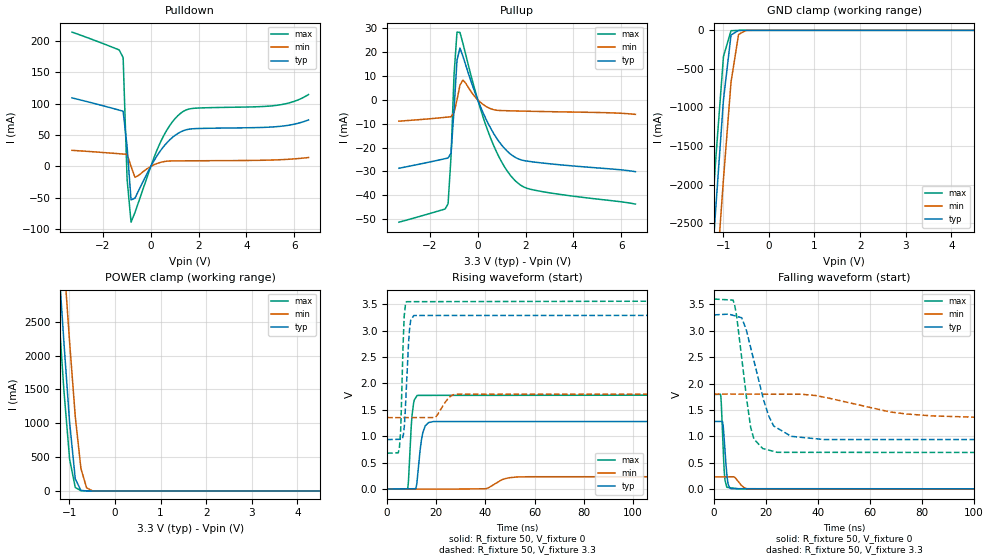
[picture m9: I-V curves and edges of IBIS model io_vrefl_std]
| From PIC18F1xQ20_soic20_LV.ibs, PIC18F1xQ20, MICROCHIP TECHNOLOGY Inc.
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[Model] io_vrefl_std
Model_type I/O
Vinl  =  0.8
Vinh  =  2
| Capacitance   typ   min   max
C_comp   6.136036966243662e-12   6.099198040904662e-12   6.534334017376944e-12
[Model Spec]
| Subparameter   typ   min   max
Vinl   1.5   0.81   1.65
Vinh   3.6   1.89   3.85
Vmeas   2.5   1.35   2.75
| Variables   typ   min   max
[GND Clamp Reference]   0   0   0
[POWER Clamp Reference]   3.3   1.8   3.6
[Pulldown Reference]   0   0   0
[Pullup Reference]   3.3   1.8   3.6
[Temperature Range]   25   125   -40
[Voltage Range]   3.3   1.8   3.6
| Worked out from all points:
|   slope of the pulldown table from 0 to 0.495 V, typ, clamps not added: 16.7 ohm
|   slope of the pullup table from 0 to 0.495 V, typ, clamps not added: 44.8 ohm
|   GND clamp passes 1 mA (typ) near -0.65 V on its own axis
|   POWER clamp passes 1 mA (typ) near -0.62 V on its own axis
|   falling waveform, R_fixture 50, V_fixture 0: 20-80 % time 1.18ns typ, 2.46ns min, 948ps max; typ from 1.28 V to 0 V
|   falling waveform, R_fixture 50, V_fixture 3.3: 20-80 % time 7.54ns typ, 25.6ns min, 4.48ns max; typ from 3.3 V to 0.936 V
|   rising waveform, R_fixture 50, V_fixture 0: 20-80 % time 1.94ns typ, 5.29ns min, 1.33ns max; typ from 0 V to 1.28 V
|   rising waveform, R_fixture 50, V_fixture 3.3: 20-80 % time 1.51ns typ, 3.79ns min, 1.11ns max; typ from 0.936 V to 3.3 V
[GND Clamp]
| Voltage   I(typ)   I(min)   I(max)
-3.3V     -20.71A    -20.94A    -20.62A
-1.324V   -3.7A      -4.646A    -3.106A
-1.159V   -2.282A    -3.287A    -1.646A
-993.1mV  -901.5mA   -1.932A    -339.4mA
-827.6mV  -60.7mA    -671.4mA   -4.911mA
-662.1mV  -1.049mA   -52.57mA   -611.6uA
-496.6mV  -24.56uA   -897.2uA   -6.715uA
6.6V      0A         0A         0A
[POWER Clamp]
| Voltage   I(typ)   I(min)   I(max)
-3.3V     24.42A     24.89A     24.19A
-1.366V   4.707A     5.832A     4.013A
-1.241V   3.448A     4.615A     2.725A
-1.117V   2.193A     3.4A       1.478A
-993.1mV  1.014A     2.2A       471.6mA
-869mV    177.7mA    1.1A       51.38mA
-744.8mV  7.757mA    330.9mA    3.34mA
-620.7mV  800.3uA    45.3mA     913.4uA
-496.6mV  59.12uA    2.734mA    100.9uA
6.6V      0A         0A         0A
[Pulldown]
| Voltage   I(typ)   I(min)   I(max)
-3.3V     109.4mA    25.68mA    214.5mA
-1.324V   89.88mA    20.27mA    185.9mA
-1.159V   88.12mA    19.77mA    173.8mA
-993.1mV  31.88mA    19.25mA    -20.25mA
-827.6mV  -53.52mA   -38.8uA    -89.02mA
-662.1mV  -50.57mA   -17.43mA   -73.42mA
341.4mV   21.7mA     5.717mA    33.47mA
796.6mV   42.57mA    8.672mA    65.49mA
1.252V    55.15mA    8.913mA    85mA
1.821V    60.27mA    9.023mA    92.84mA
5.286V    63.53mA    10.51mA    97.64mA
6.6V      74.28mA    14.23mA    114.7mA
[Pullup]
| Voltage   I(typ)   I(min)   I(max)
-3.3V     -28.7mA    -8.944mA   -51.33mA
-1.241V   -24.41mA   -7.2mA     -43.58mA
-1.117V   -22.37mA   -7.062mA   -23.61mA
-993.1mV  -4.232mA   -5.311mA   10.35mA
-869mV    16.64mA    -60.75uA   28.44mA
-744.8mV  21.75mA    6.171mA    28.29mA
-620.7mV  18.28mA    8.311mA    23.71mA
455.2mV   -10.29mA   -3.355mA   -13.89mA
1.024V    -19.27mA   -4.499mA   -26.48mA
1.593V    -24.26mA   -4.657mA   -34.17mA
2.503V    -26.27mA   -4.856mA   -38.14mA
6.6V      -30.13mA   -6.092mA   -43.74mA
[Ramp]
dV/dt_r   0.768807/1.9403n  0.139527/5.29135n  1.07649/1.33348n
dV/dt_f   1.41823/7.54215n  0.268061/25.5808n  1.75309/4.48253n
R_load = 50
[Falling Waveform]
R_fixture = 50
V_fixture = 0
V_fixture_min = 0
V_fixture_max = 0
| Time   V(typ)   V(min)   V(max)
0s        1.281V     232.5mV    1.794V
2.652ns   1.283V     233.2mV    1.743V
3.246ns   1.284V     233.3mV    1.102V
3.918ns   947.2mV    233.4mV    353.5mV
4.217ns   737.9mV    233.5mV    170.1mV
4.944ns   280.8mV    233.7mV    35.55mV
6.031ns   26.41mV    233.9mV    28.53mV
9.876ns   8.725mV    111.9mV    3.69mV
15.89ns   8.63mV     358.4uV    3.649mV
562.5ns   70.69nV    36.53nV    38.49nV
[Falling Waveform]
R_fixture = 50
V_fixture = 3.3
V_fixture_min = 1.8
V_fixture_max = 3.6
| Time   V(typ)   V(min)   V(max)
0s        3.3V       1.8V       3.6V
7.339ns   3.292V     1.799V     3.581V
10.69ns   3.245V     1.799V     2.475V
14.11ns   2.681V     1.799V     1.17V
15.35ns   2.434V     1.799V     949.4mV
21.09ns   1.383V     1.798V     739.3mV
24.35ns   1.157V     1.798V     697.8mV
42.27ns   940.1mV    1.742V     697.1mV
102.7ns   939.7mV    1.36V      694.9mV
562.5ns   936.3mV    1.353V     678.2mV
[Rising Waveform]
R_fixture = 50
V_fixture = 0
V_fixture_min = 0
V_fixture_max = 0
| Time   V(typ)   V(min)   V(max)
0s        -41.08pV   18.74nV    -61.89pV
8.364ns   3.452mV    -1.195mV   2.032mV
10.18ns   4.201mV    -1.454mV   1.405V
11.08ns   4.575mV    -1.583mV   1.687V
12.23ns   166.7mV    -1.747mV   1.774V
14.54ns   1.069V     -2.076mV   1.774V
18.94ns   1.278V     -2.705mV   1.774V
40.14ns   1.279V     4.549mV    1.775V
57.65ns   1.279V     232.2mV    1.776V
562.5ns   1.281V     232.5mV    1.794V
[Rising Waveform]
R_fixture = 50
V_fixture = 3.3
V_fixture_min = 1.8
V_fixture_max = 3.6
| Time   V(typ)   V(min)   V(max)
0s        936.3mV    1.353V     678.2mV
5.023ns   941.5mV    1.353V     788.9mV
5.5ns     942mV      1.353V     1.088V
6.952ns   1.163V     1.354V     3.27V
7.878ns   1.951V     1.354V     3.55V
9.059ns   2.99V      1.354V     3.55V
10.87ns   3.288V     1.354V     3.55V
19.24ns   3.289V     1.354V     3.551V
28ns      3.289V     1.796V     3.552V
562.5ns   3.3V       1.8V       3.6V
